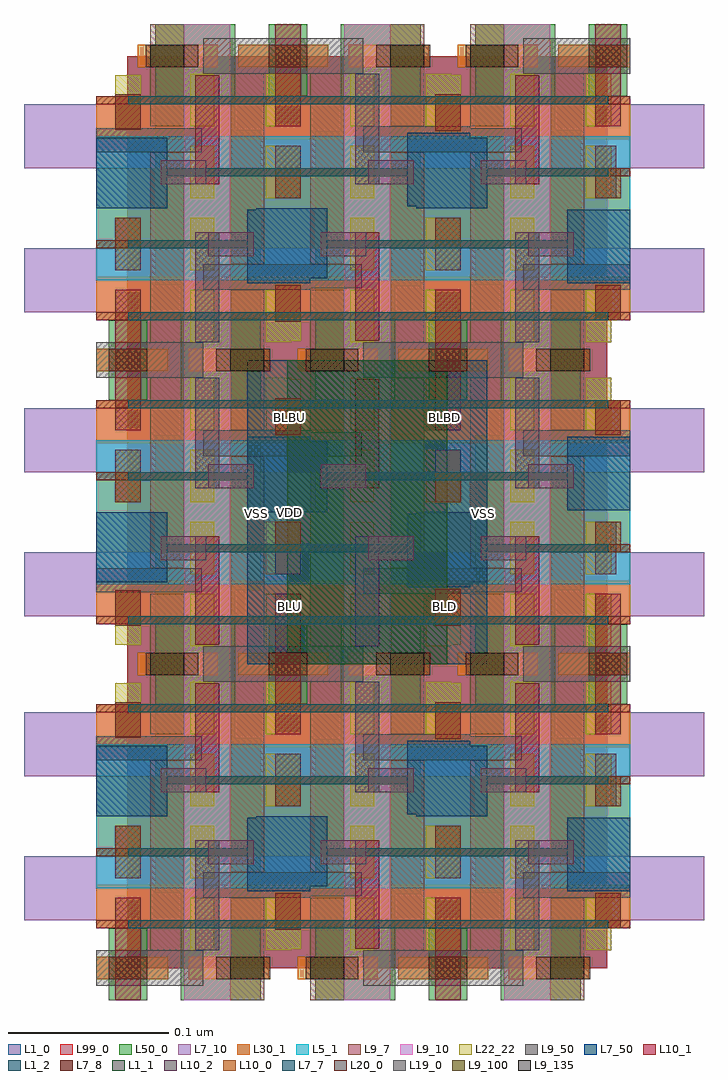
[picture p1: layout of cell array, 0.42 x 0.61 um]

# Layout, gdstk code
import gdstk
lib = gdstk.Library(unit=1e-6, precision=1e-10)
def R(c, l, rs):  # rectangles x0, y0, x1, y1
    for r in rs: c.add(gdstk.rectangle(r[:2], r[2:], *l))
def A(c, l, x, y, w, h, nx, ny, dx, dy):  # array of equal rectangles
    R(c, l, [(x+i*dx, y+j*dy, x+i*dx+w, y+j*dy+h) for i in range(nx) for j in range(ny)])
L1_0 = (1, 0)
L1_1 = (1, 1)
L1_2 = (1, 2)
L5_1 = (5, 1)
L7_7 = (7, 7)
L7_8 = (7, 8)
L7_10 = (7, 10)
L7_50 = (7, 50)
L9_7 = (9, 7)
L9_10 = (9, 10)
L9_50 = (9, 50)
L9_100 = (9, 100)
L9_135 = (9, 135)
L10_0 = (10, 0)
L10_1 = (10, 1)
L10_2 = (10, 2)
L19_0 = (19, 0)
L20_0 = (20, 0)
L22_22 = (22, 22)
L30_1 = (30, 1)
L50_0 = (50, 0)
L99_0 = (99, 0)

sram_hd = lib.new_cell('sram_hd')
R(sram_hd, L1_0, [(-0.0005,0,0.0995,0.19)])
R(sram_hd, L5_1, [(-0.02,0.05,0.114,0.14)])
R(sram_hd, L7_7, [(0,0.025,0.1,0.03), (0,0.07,0.0745,0.075), (0.0245,0.115,0.1,0.12), (0,0.16,0.1,0.165)])
R(sram_hd, L7_8, [(-0.02,0.025,0.114,0.03), (-0.02,0.07,0.0745,0.075), (0.0245,0.115,0.114,0.12), (-0.02,0.16,0.114,0.165)])
R(sram_hd, L7_10, [(-0.065,0.03,0.16,0.07), (-0.065,0.12,0.16,0.16)])
R(sram_hd, L7_50, [(0.0745,0.048,0.114,0.094), (-0.02,0.095,0.0245,0.139)])
R(sram_hd, L9_7, [(0.064,-0.02,0.085,0.044), (0.014,0.011,0.035,0.13), (0.064,0.06,0.085,0.179), (0.014,0.146,0.035,0.21)])
R(sram_hd, L9_10, [(0.035,-0.02,0.064,0.21)])
R(sram_hd, L9_50, [(-0.02,-0.011,0.047,0.011), (0.047,0.044,0.114,0.06), (-0.02,0.13,0.046,0.145), (0.047,0.179,0.114,0.201)])
R(sram_hd, L9_100, [(0.064,-0.007,0.085,0.007), (0.014,0.183,0.035,0.197)])
R(sram_hd, L9_135, [(0.064,-0.007,0.085,0.007), (0.014,0.183,0.035,0.197)])
R(sram_hd, L10_0, [(-0.008,-0.007,0.008,0.007), (0.092,0.025,0.108,0.047), (-0.008,0.07,0.008,0.089), (0.092,0.101,0.108,0.12), (-0.008,0.144,0.008,0.166), (0.092,0.183,0.108,0.197)])
R(sram_hd, L10_1, [(-0.008,-0.02,0.008,0.044), (0.092,0.025,0.108,0.047), (0.042,0.11,0.057,0.178), (-0.008,0.144,0.008,0.166), (0.092,0.146,0.108,0.21)])
R(sram_hd, L10_2, [(0.042,0.011,0.057,0.08), (-0.008,0.056,0.008,0.089), (0.092,0.101,0.105,0.134)])
R(sram_hd, L19_0, [(0.05,0.065,0.0785,0.08), (0.0205,0.11,0.049,0.125)])
R(sram_hd, L20_0, [(-0.012,-0.007,0.012,0.007), (0.055,-0.007,0.089,0.007), (0.011,0.183,0.044,0.197), (0.088,0.183,0.112,0.197)])
A(sram_hd, L22_22, 0.039, 0.011, 0.015, 0.033, 1, 4, 0, 0.045)
R(sram_hd, L22_22, [(-0.008,0.011,0.008,0.044), (0.086,0.011,0.102,0.044), (-0.008,0.056,0.008,0.089), (0.086,0.101,0.102,0.134), (-0.008,0.145,0.008,0.178), (0.086,0.146,0.102,0.179)])
R(sram_hd, L30_1, [(-0.02,-0.007,0.025,0.007), (0.038,-0.007,0.088,0.007), (-0.02,0.025,0.114,0.052), (-0.02,0.07,0.114,0.12), (-0.02,0.138,0.114,0.165), (0.006,0.183,0.056,0.197), (0.069,0.183,0.114,0.197)])
R(sram_hd, L50_0, [(-0.012,-0.02,0.012,0.025), (0.033,-0.02,0.083,0.144), (0.017,0.047,0.067,0.21), (0.088,0.165,0.112,0.21)])
R(sram_hd, L99_0, [(-0.0005,0,0.0995,0.19)])
sram_hd.add(gdstk.Label('VSS', (0.005,0.009), layer=50, texttype=12))
sram_hd.add(gdstk.Label('VSS', (-0.02,0.094), layer=50, texttype=12))
sram_hd.add(gdstk.Label('VSS', (0.122,0.094), layer=50, texttype=12))
sram_hd.add(gdstk.Label('VSS', (0.095,0.184), layer=50, texttype=12))
sram_hd.add(gdstk.Label('WLR', (0.042,0.188), layer=50, texttype=12))
sram_hd.add(gdstk.Label('WLL', (0.053,0.002), layer=50, texttype=12))

sram_hd_nopins = lib.new_cell('sram_hd_nopins')
R(sram_hd_nopins, L1_0, [(-0.0005,0,0.0995,0.19)])
R(sram_hd_nopins, L5_1, [(-0.02,0.05,0.114,0.14)])
R(sram_hd_nopins, L7_7, [(0,0.025,0.1,0.03), (0,0.07,0.0745,0.075), (0.0245,0.115,0.1,0.12), (0,0.16,0.1,0.165)])
R(sram_hd_nopins, L7_8, [(-0.02,0.025,0.114,0.03), (-0.02,0.07,0.0745,0.075), (0.0245,0.115,0.114,0.12), (-0.02,0.16,0.114,0.165)])
R(sram_hd_nopins, L7_10, [(-0.065,0.03,0.16,0.07), (-0.065,0.12,0.16,0.16)])
R(sram_hd_nopins, L7_50, [(0.0745,0.048,0.114,0.094), (-0.02,0.095,0.0245,0.139)])
R(sram_hd_nopins, L9_7, [(0.064,-0.02,0.085,0.044), (0.014,0.011,0.035,0.13), (0.064,0.06,0.085,0.179), (0.014,0.146,0.035,0.21)])
R(sram_hd_nopins, L9_10, [(0.035,-0.02,0.064,0.21)])
R(sram_hd_nopins, L9_50, [(-0.02,-0.011,0.047,0.011), (0.047,0.044,0.114,0.06), (-0.02,0.13,0.046,0.145), (0.047,0.179,0.114,0.201)])
R(sram_hd_nopins, L9_100, [(0.064,-0.007,0.085,0.007), (0.014,0.183,0.035,0.197)])
R(sram_hd_nopins, L9_135, [(0.064,-0.007,0.085,0.007), (0.014,0.183,0.035,0.197)])
R(sram_hd_nopins, L10_0, [(-0.008,-0.007,0.008,0.007), (0.092,0.025,0.108,0.047), (-0.008,0.07,0.008,0.089), (0.092,0.101,0.108,0.12), (-0.008,0.144,0.008,0.166), (0.092,0.183,0.108,0.197)])
R(sram_hd_nopins, L10_1, [(-0.008,-0.02,0.008,0.044), (0.092,0.025,0.108,0.047), (0.042,0.11,0.057,0.178), (-0.008,0.144,0.008,0.166), (0.092,0.146,0.108,0.21)])
R(sram_hd_nopins, L10_2, [(0.042,0.011,0.057,0.08), (-0.008,0.056,0.008,0.089), (0.092,0.101,0.105,0.134)])
R(sram_hd_nopins, L19_0, [(0.05,0.065,0.0785,0.08), (0.0205,0.11,0.049,0.125)])
R(sram_hd_nopins, L20_0, [(-0.012,-0.007,0.012,0.007), (0.055,-0.007,0.089,0.007), (0.011,0.183,0.044,0.197), (0.088,0.183,0.112,0.197)])
A(sram_hd_nopins, L22_22, 0.039, 0.011, 0.015, 0.033, 1, 4, 0, 0.045)
R(sram_hd_nopins, L22_22, [(-0.008,0.011,0.008,0.044), (0.086,0.011,0.102,0.044), (-0.008,0.056,0.008,0.089), (0.086,0.101,0.102,0.134), (-0.008,0.145,0.008,0.178), (0.086,0.146,0.102,0.179)])
R(sram_hd_nopins, L30_1, [(-0.02,-0.007,0.025,0.007), (0.038,-0.007,0.088,0.007), (-0.02,0.025,0.114,0.052), (-0.02,0.07,0.114,0.12), (-0.02,0.138,0.114,0.165), (0.006,0.183,0.056,0.197), (0.069,0.183,0.114,0.197)])
R(sram_hd_nopins, L50_0, [(-0.012,-0.02,0.012,0.025), (0.033,-0.02,0.083,0.144), (0.017,0.047,0.067,0.21), (0.088,0.165,0.112,0.21)])
R(sram_hd_nopins, L99_0, [(-0.0005,0,0.0995,0.19)])

array = lib.new_cell('array')
R(array, L1_1, [(-0.0005,0,0.0995,0.19)])
R(array, L1_2, [(-0.0255,0,0.1245,0.19)])
array.add(gdstk.Reference(sram_hd, (0,0)))
array.add(gdstk.Reference(sram_hd_nopins, (-0.1,-0.19)))
array.add(gdstk.Reference(sram_hd_nopins, (0.1,-0.19)))
array.add(gdstk.Reference(sram_hd_nopins, (-0.1,0.19)))
array.add(gdstk.Reference(sram_hd_nopins, (0.1,0.19)))
array.add(gdstk.Reference(sram_hd_nopins, (0,0), x_reflection=True))
array.add(gdstk.Reference(sram_hd_nopins, (-0.1,0.19), x_reflection=True))
array.add(gdstk.Reference(sram_hd_nopins, (0.1,0.19), x_reflection=True))
array.add(gdstk.Reference(sram_hd_nopins, (0,0.38), x_reflection=True))
array.add(gdstk.Label('VSS', (-0.02,0.094), layer=50, texttype=12))
array.add(gdstk.Label('VSS', (0.122,0.094), layer=50, texttype=12))
array.add(gdstk.Label('BLU', (0.001,0.036), layer=30, texttype=2))
array.add(gdstk.Label('BLBU', (0.001,0.154), layer=30, texttype=2))
array.add(gdstk.Label('VDD', (0.001,0.095), layer=30, texttype=2))
array.add(gdstk.Label('BLBD', (0.098,0.154), layer=30, texttype=2))
array.add(gdstk.Label('BLD', (0.098,0.036), layer=30, texttype=2))

lib.write_gds('array.gds')
